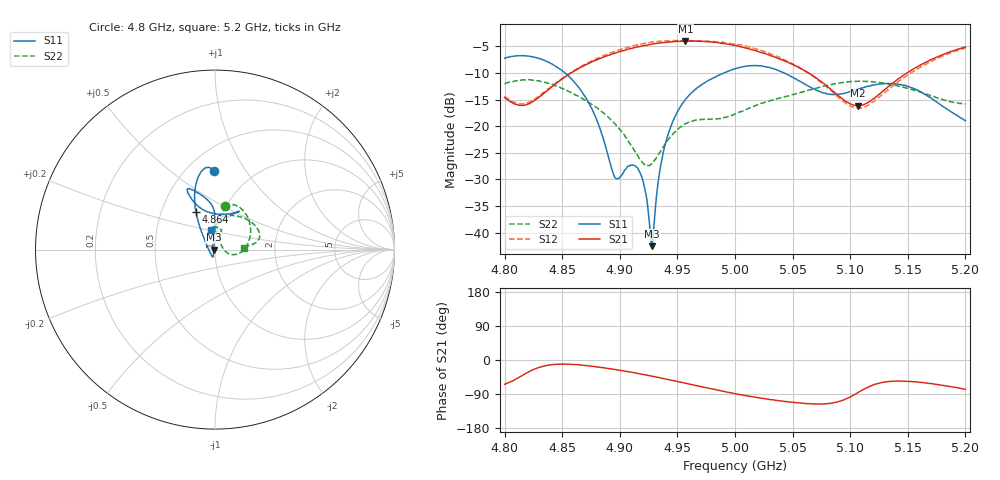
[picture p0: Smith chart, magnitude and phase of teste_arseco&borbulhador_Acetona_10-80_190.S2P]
! Network Analyzer HP8722D
! Hewlett-Packard
! Data name: Linha & Wilkinson
! Saver's name: Rodrigo Anjos
! Comments: Teste da utilização de aquisição
! continua pelo VNA HP8722D
! Time and date: 25/4/2025 16:51
!  Frequency  S11  S21  S12  S22
# HZ  S  MA R 50
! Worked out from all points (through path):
!   401 points, 4.8 GHz to 5.2 GHz, reference 50 ohm
!   highest |S21| = -3.98 dB at 4.957 GHz (marker M1); lowest = -16.2 dB at 5.107 GHz (marker M2)
!   lowest |S11| = -42.5 dB at 4.928 GHz (marker M3), VSWR 1.02, Z = 49.3 + j0.0518 ohm
!   |S11| at or under -10 dB: 4.853 GHz to 4.99 GHz (137.8 MHz wide, 2.8 % of centre); 5.043 GHz to end of sweep
!   |S22| runs from -27.5 to -11.2 dB; largest |S21 - S12| = 1.2
!   S11 on the Smith chart (normalised r, x): 4.8 GHz: 0.67, +0.72; 4.864 GHz: 0.75, +0.33; 5.2 GHz: 0.94, +0.21
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4.8e9  0.4356 91.0  0.1857 -64.0  0.1914 69.5  0.2505 77.7
4.82e9  0.4553 97.2  0.1613 -32.7  0.1663 98.1  0.2724 61.9
4.844e9  0.3686 107.1  0.2487 -11.5  0.2517 119.1  0.2387 36.3
4.864e9  0.234 116.8  0.3478 -12.7  0.3513 121.2  0.1907 12.6
4.867e9  0.211 118.5  0.3626 -13.6  0.3661 120.8  0.1833 9.1
4.88e9  0.1143 128.6  0.4206 -18.1  0.4312 118.3  0.1493 -4.9
4.896e9  0.03264 -169.5  0.4869 -25.1  0.5057 113.3  0.1049 -15.6
4.909e9  0.043 -109.2  0.535 -31.7  0.5594 107.8  0.06818 -13.6
4.917e9  0.03757 -104.3  0.5602 -36.2  0.5866 103.7  0.04954 -0.9
4.922e9  0.02476 -109.0  0.5742 -39.1  0.6011 101.0  0.0432 15.9
4.926e9  0.0115 -134.6  0.5857 -41.6  0.611 98.5  0.04272 32.6
4.928e9  0.007461 176.0  0.5907 -42.6  0.6164 97.3  0.04478 40.0
4.934e9  0.03393 99.9  0.6035 -46.4  0.6277 93.5  0.05506 57.5
4.943e9  0.09093 91.4  0.62 -52.3  0.6355 87.7  0.07694 68.2
4.957e9  0.1781 89.7  0.6325 -61.3  0.6392 78.8  0.1054 70.7
5e9  0.3466 109.3  0.5733 -89.0  0.5919 51.0  0.1303 88.5
5.031e9  0.3529 115.3  0.4604 -104.7  0.4781 33.4  0.1745 84.8
5.067e9  0.228 105.7  0.3022 -115.9  0.2987 23.7  0.2221 57.5
5.107e9  0.2232 64.8  0.1556 -85.6  0.1474 57.4  0.2641 24.3
5.134e9  0.2521 57.8  0.2397 -56.6  0.2251 88.7  0.2489 12.5
5.17e9  0.1845 71.2  0.4207 -62.1  0.4047 84.7  0.1941 6.9
5.2e9  0.1127 100.7  0.5547 -77.4  0.5431 70.3  0.162 3.8
